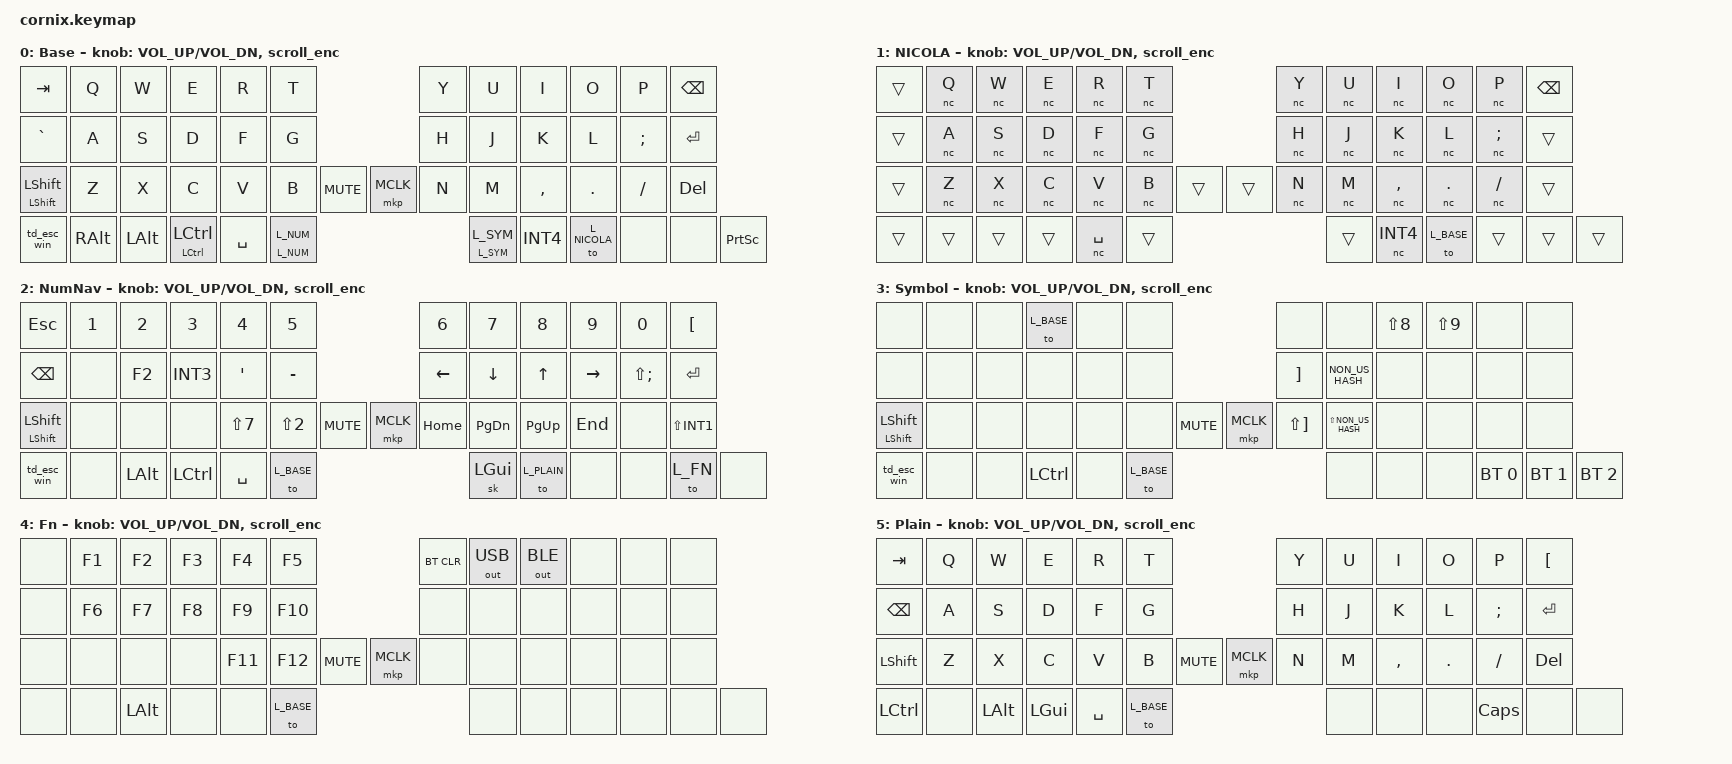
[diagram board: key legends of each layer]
/*
 * Cornix keymap — Vial (keymap-20260706-203100.vil) からの移植
 * マスター: AutoFor/cornix-oyayubi docs/keymap/README.md
 *
 * レイヤー: 0=Base 1=NICOLA 2=Num/Nav 3=Symbol 4=Fn 5=Plain
 *   (NICOLAを低番号に置き、NICOLA中でもL1/L2等のレイヤーキーが上に重なって
 *    Baseと同じように機能する。番号は下の L_* define で管理)
 * Vialタップダンス対応:
 *   TD(0) tap TO(1)/hold MO(1)      -> &tt_num (hold-tap: mo/to)
 *   TD(1) tap OSL(2)/hold MO(2)     -> &msl    (hold-tap: mo/sl) ※double-tap TO(2)は未移植
 *   TD(2) tap ESC/double-tap Win    -> &td_esc_win (tap-dance)
 *   TD(3) tap OSM(Ctrl)/hold Ctrl   -> &oct LCTRL LCTRL (hold-tap: kp/sk)
 *   TD(4) tap OSM(Shift)/hold Shift -> &osf LSHFT LSHFT
 *   TD(6) 復帰                       -> &to 0
 * USER00-02(無線系) -> &bt BT_SEL 0/1/2 に置換、L3右手に BT_CLR / &out を追加
 */

#include <behaviors.dtsi>
#include <behaviors/nicola.dtsi>
#include <dt-bindings/zmk/bt.h>
#include <dt-bindings/zmk/keys.h>
#include <dt-bindings/zmk/outputs.h>
#include <dt-bindings/zmk/pointing.h>

// ============================================================
// 親指シフト(NICOLA)の設定はここだけ変えればOK。変更後 push → flash-cornix.ps1
// ============================================================
// 判定方式は実行時に切替 (USBシリアルで set mode 0/1、Web設定ツールからも可):
//   mode 0 = 固定ms窓・先判定 (NICOLA_TIMEOUT_MS が有効)
//   mode 1 = やまぶきR風%・後判定 (NICOLA_RANGE_PCT が有効)
// 両方定義してあるので方式を切り替えてもこのファイルはそのまま使える
// エンジン本体は modules/nicola/ に同居している
// 2026-07-08 ログ実測: 意図した同時打鍵は全て34ms以内、誤爆(ロールオーバー)は67ms
// → 中間の50msに設定 (以前は100msで広すぎた)
#define NICOLA_TIMEOUT_MS 50   // 同時打鍵判定窓 (ms) — mainブランチ用
#define NICOLA_RANGE_PCT 65    // 同時打鍵判定範囲 (%) — range-pctブランチ用
// 連続シフト: 親指を押しっぱなしで後続の文字にもシフトをかけ続ける (1=オン, 0=オフ)
#define NICOLA_CONTINUOUS 0
// 親指シフトキー (キーマップ内の全該当箇所に自動反映される)
#define NICOLA_LTHUMB SPACE  // 左親指シフト (単独タップはこのキー自身)
#define NICOLA_RTHUMB INT4   // 右親指シフト (INT4=変換)

// レイヤー切替(#47「親」)とIME切替(#36 半角/全角)は完全に独立したキーにしてある
// (2026-07-22。ウィンドウ切替直後にIMEトグルがズレる問題の切り分けのため分離。
//  以前はnicola_on/off等の連動マクロで1キーにまとめていたが廃止)。
// 半角/全角キーが送るキーは環境ごとにここを差し替える(Windows(JIS)既定=GRAVE)。
#define NICOLA_ZENKAKU_KEY GRAVE

// レイヤー番号。NICOLAを低番号に置くことで、NICOLA中でもレイヤーキーが
// 上に重なりBaseと同じように機能する(キーマップ内はこのdefineを使うこと)
#define L_BASE   0
#define L_NICOLA 1
#define L_NUM    2
#define L_SYM    3
#define L_FN     4
#define L_PLAIN  5

&nc {
    timeout-ms = <NICOLA_TIMEOUT_MS>;
    range-pct = <NICOLA_RANGE_PCT>;
    continuous-shift = <NICOLA_CONTINUOUS>;
    left-thumb = <NICOLA_LTHUMB>;
    right-thumb = <NICOLA_RTHUMB>;
};

/ {
    behaviors {
        // TD(0): tap=TO(1), hold=MO(1)
        tt_num: tap_to_hold_mo {
            compatible = "zmk,behavior-hold-tap";
            #binding-cells = <2>;
            bindings = <&mo>, <&to>;
            flavor = "hold-preferred";
            tapping-term-ms = <150>;
        };

        // TD(1): tap=OSL(2), hold=MO(2)
        msl: mo_sticky_layer {
            compatible = "zmk,behavior-hold-tap";
            #binding-cells = <2>;
            bindings = <&mo>, <&sl>;
            flavor = "hold-preferred";
            tapping-term-ms = <150>;
        };

        // TD(3): tap=OSM(Ctrl), hold=Ctrl (Vial判定250ms)
        oct: osm_or_hold_ctrl {
            compatible = "zmk,behavior-hold-tap";
            #binding-cells = <2>;
            bindings = <&kp>, <&sk>;
            flavor = "hold-preferred";
            tapping-term-ms = <250>;
        };

        // TD(4): tap=OSM(Shift), hold=Shift (Vial判定200ms)
        osf: osm_or_hold_shift {
            compatible = "zmk,behavior-hold-tap";
            #binding-cells = <2>;
            bindings = <&kp>, <&sk>;
            flavor = "hold-preferred";
            tapping-term-ms = <200>;
        };

        // TD(2): tap=ESC, double-tap=Win
        td_esc_win: td_esc_win {
            compatible = "zmk,behavior-tap-dance";
            #binding-cells = <0>;
            tapping-term-ms = <150>;
            bindings = <&kp ESC>, <&kp LGUI>;
        };

        // エンコーダ2: マウスホイール
        scroll_enc: scroll_encoder {
            compatible = "zmk,behavior-sensor-rotate";
            #sensor-binding-cells = <0>;
            bindings = <&msc SCRL_UP>, <&msc SCRL_DOWN>;
        };
    };

    macros {
        // Vial M5: "te"
        macro_te: macro_te {
            compatible = "zmk,behavior-macro";
            #binding-cells = <0>;
            bindings = <&kp T &kp E>;
        };
    };

    combos {
        compatible = "zmk,combos";

        // Vial combo: LAlt + Esc -> M5("te") (NICOLA中もBase同様に有効)
        combo_te {
            bindings = <&macro_te>;
            key-positions = <38 40>;
            layers = <L_BASE L_NICOLA>;
        };
    };

    keymap {
        compatible = "zmk,keymap";

        base_layer {
            display-name = "Base";
            // 左手                                          右手
            // Tab    Q    W    E    R    T              Y    U    I    O    P    BSpc
            // 全角   A    S    D    F    G              H    J    K    L    ;    Enter
            // Sft*   Z    X    C    V    B  Mute  MClk  N    M    ,    .    /    Del
            // Esc/Win RAlt LAlt Ctl* Spc  L1*   L2* 変換  親(レイヤー切替のみ)  --  --  PrtSc
            bindings = <
&kp TAB          &kp Q     &kp W     &kp E            &kp R           &kp T                              &kp Y      &kp U     &kp I      &kp O      &kp P      &kp BSPC
&kp NICOLA_ZENKAKU_KEY &kp A &kp S    &kp D            &kp F           &kp G                              &kp H      &kp J     &kp K      &kp L      &kp SEMI   &kp ENTER
&osf LSHFT LSHFT &kp Z     &kp X     &kp C            &kp V           &kp B      &kp C_MUTE  &mkp MCLK   &kp N      &kp M     &kp COMMA  &kp DOT    &kp FSLH   &kp DEL
&td_esc_win      &kp RALT  &kp LALT  &oct LCTRL LCTRL &kp SPACE       &tt_num L_NUM L_NUM                &msl L_SYM L_SYM &kp INT4 &to L_NICOLA &none &none &kp PSCRN
            >;
            sensor-bindings = <&inc_dec_kp C_VOL_UP C_VOL_DN &scroll_enc>;
        };

        nicola_layer {
            display-name = "NICOLA";
            // 親指シフト。文字キーは &nc、親指シフトキーはファイル冒頭の
            // NICOLA_LTHUMB / NICOLA_RTHUMB 定義が自動反映される
            // @キー(P右隣)は NICOLA-J規格どおり単独=、(読点。Pキー単独でも同じ、が出るため
            // この位置をBackspaceに明け渡しても、を失わない)
            // Tab/Enter/Delete/レイヤーキー等は &trans でベースのまま
            // (レイヤー1に配置: NumNav/Symbol/Fnが上に重なるためL1/L2キーもBase同様に効く)
            // 解除は右手親指行内から4番目(Baseの「親」と同じ物理キー、2026-07-22に全角の位置へ移動)。単純にBaseへ戻るだけ
            bindings = <
&trans           &nc Q     &nc W     &nc E       &nc R       &nc T                              &nc Y      &nc U     &nc I      &nc O      &nc P      &kp BSPC
&trans           &nc A     &nc S     &nc D       &nc F       &nc G                              &nc H      &nc J     &nc K      &nc L      &nc SEMI   &trans
&trans           &nc Z     &nc X     &nc C       &nc V       &nc B       &trans      &trans     &nc N      &nc M     &nc COMMA  &nc DOT    &nc SLASH  &trans
&trans           &trans    &trans    &trans      &nc NICOLA_LTHUMB &trans                       &trans     &nc NICOLA_RTHUMB &to L_BASE &trans &trans &trans
            >;
            sensor-bindings = <&inc_dec_kp C_VOL_UP C_VOL_DN &scroll_enc>;
        };

        num_nav_layer {
            display-name = "NumNav";
            // Esc    1    2    3    4    5              6    7    8    9    0    @
            // BSpc   --   F2   ¥    :*   -              ←    ↓    ↑    →    +    Enter
            // Sft*   --   --   --   '&   "@             Home PgDn PgUp End  --   _
            // Esc/Win --  LAlt LCtrl Spc  TO0        OSM(Win) TO4  --   --   TO_Fn  --
            bindings = <
&kp ESC          &kp N1    &kp N2    &kp N3      &kp N4      &kp N5                             &kp N6     &kp N7     &kp N8     &kp N9     &kp N0        &kp LBKT
&kp BSPC         &none     &kp F2    &kp INT3    &kp SQT     &kp MINUS                          &kp LEFT   &kp DOWN   &kp UP     &kp RIGHT  &kp LS(SEMI)  &kp ENTER
&osf LSHFT LSHFT &none     &none     &none       &kp LS(N7)  &kp LS(N2)  &kp C_MUTE  &mkp MCLK  &kp HOME   &kp PG_DN  &kp PG_UP  &kp END    &none         &kp LS(INT1)
&td_esc_win      &none     &kp LALT  &kp LCTRL   &kp SPACE   &to L_BASE                         &sk LGUI   &to L_PLAIN &none     &none      &to L_FN      &none
            >;
            sensor-bindings = <&inc_dec_kp C_VOL_UP C_VOL_DN &scroll_enc>;
        };

        symbol_layer {
            display-name = "Symbol";
            // --     --   --   TO0  --   --             --   --   (    )    --   --
            // --     --   --   --   --   --             ]    #    --   --   --   --
            // Sft*   --   --   --   --   --             }    ~    --   --   --   --
            // Esc/Win --   --  LCtrl --  TO0            --   --   --  BT0  BT1  BT2
            bindings = <
&none            &none     &none     &to L_BASE  &none       &none                              &none            &none                &kp LS(N8)  &kp LS(N9)    &none         &none
&none            &none     &none     &none       &none       &none                              &kp RBKT         &kp NON_US_HASH      &none       &none         &none         &none
&osf LSHFT LSHFT &none     &none     &none       &none       &none       &kp C_MUTE  &mkp MCLK  &kp LS(RBKT)     &kp LS(NON_US_HASH)  &none       &none         &none         &none
&td_esc_win      &none     &none     &kp LCTRL   &none       &to L_BASE                         &none            &none                &none       &bt BT_SEL 0  &bt BT_SEL 1  &bt BT_SEL 2
            >;
            sensor-bindings = <&inc_dec_kp C_VOL_UP C_VOL_DN &scroll_enc>;
        };

        fn_layer {
            display-name = "Fn";
            // --     F1   F2   F3   F4   F5             BTCLR USB  BLE  --   --   --
            // --     F6   F7   F8   F9   F10            --   --   --   --   --   --
            // --     --   --   --   F11  F12            --   --   --   --   --   --
            // --     --  LAlt  --   --   TO0            --   --   --   --   --   --
            bindings = <
&none            &kp F1    &kp F2    &kp F3      &kp F4      &kp F5                             &bt BT_CLR  &out OUT_USB  &out OUT_BLE  &none      &none      &none
&none            &kp F6    &kp F7    &kp F8      &kp F9      &kp F10                            &none       &none         &none         &none      &none      &none
&none            &none     &none     &none       &kp F11     &kp F12     &kp C_MUTE  &mkp MCLK  &none       &none         &none         &none      &none      &none
&none            &none     &kp LALT  &none       &none       &to L_BASE                         &none       &none         &none         &none      &none      &none
            >;
            sensor-bindings = <&inc_dec_kp C_VOL_UP C_VOL_DN &scroll_enc>;
        };

        plain_layer {
            display-name = "Plain";
            // 素のQWERTY(ゲーム等用)。修飾キーは通常位置
            bindings = <
&kp TAB          &kp Q     &kp W     &kp E       &kp R       &kp T                              &kp Y      &kp U     &kp I      &kp O        &kp P      &kp LBKT
&kp BSPC         &kp A     &kp S     &kp D       &kp F       &kp G                              &kp H      &kp J     &kp K      &kp L        &kp SEMI   &kp ENTER
&kp LSHFT        &kp Z     &kp X     &kp C       &kp V       &kp B       &kp C_MUTE  &mkp MCLK  &kp N      &kp M     &kp COMMA  &kp DOT      &kp FSLH   &kp DEL
&kp LCTRL        &none     &kp LALT  &kp LGUI    &kp SPACE   &to L_BASE                         &none      &none     &none      &kp CAPS     &none      &none
            >;
            sensor-bindings = <&inc_dec_kp C_VOL_UP C_VOL_DN &scroll_enc>;
        };
    };
};
